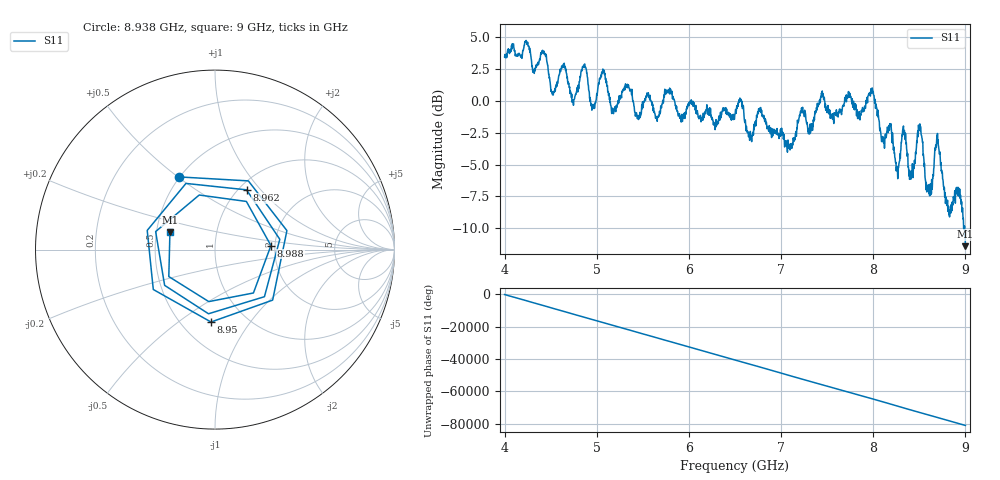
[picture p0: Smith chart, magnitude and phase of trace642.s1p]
! Created with skrf 1.8.0 (http://scikit-rf.org).
# Hz S RI R 50.0
!freq ReS11 ImS11
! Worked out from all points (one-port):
!   1601 points, 4 GHz to 9 GHz, reference 50 ohm
!   lowest |S11| = -11.4 dB at 9 GHz (marker M1), VSWR 1.74, Z = 29.5 + j6.15 ohm
!   |S11| at or under -10 dB: 8.986029 GHz to 8.989106 GHz (3.077 MHz wide, 0.0342 % of centre); 8.991617 GHz to end of sweep
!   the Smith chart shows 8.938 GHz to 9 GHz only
!   S11 on the Smith chart (normalised r, x): 8.938 GHz: 0.50, +0.51; 8.95 GHz: 0.69, -0.67; 8.962 GHz: 1.09, +0.84; 8.988 GHz: 1.90, +0.09; 9 GHz: 0.59, +0.12
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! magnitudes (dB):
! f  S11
! 4 GHz  3.5
! 4.428 GHz  3.9
! 4.525 GHz  0.6
! 4.625 GHz  2.7
! 4.741 GHz  0.0
! 4.862 GHz  2.6
! 4.953 GHz  -0.5
! 5.062 GHz  2.1
! 5.25 GHz  0.4
! 5.875 GHz  -0.8
! 6.5 GHz  -1.0
! 7.125 GHz  -3.5
! 7.222 GHz  -0.6
! 7.75 GHz  0.3
! 7.988 GHz  1.0
! 8.256 GHz  -5.3
! 8.328 GHz  -2.0
! 8.375 GHz  -4.2
! 8.419 GHz  -5.7
! 8.503 GHz  -2.0
! 8.597 GHz  -6.9
! 8.694 GHz  -3.2
! 8.809 GHz  -8.6
! 8.938 GHz  -6.9
! 8.95 GHz  -7.9
! 8.962 GHz  -8.5
! 8.988 GHz  -10.1
! 9 GHz  -11.4
